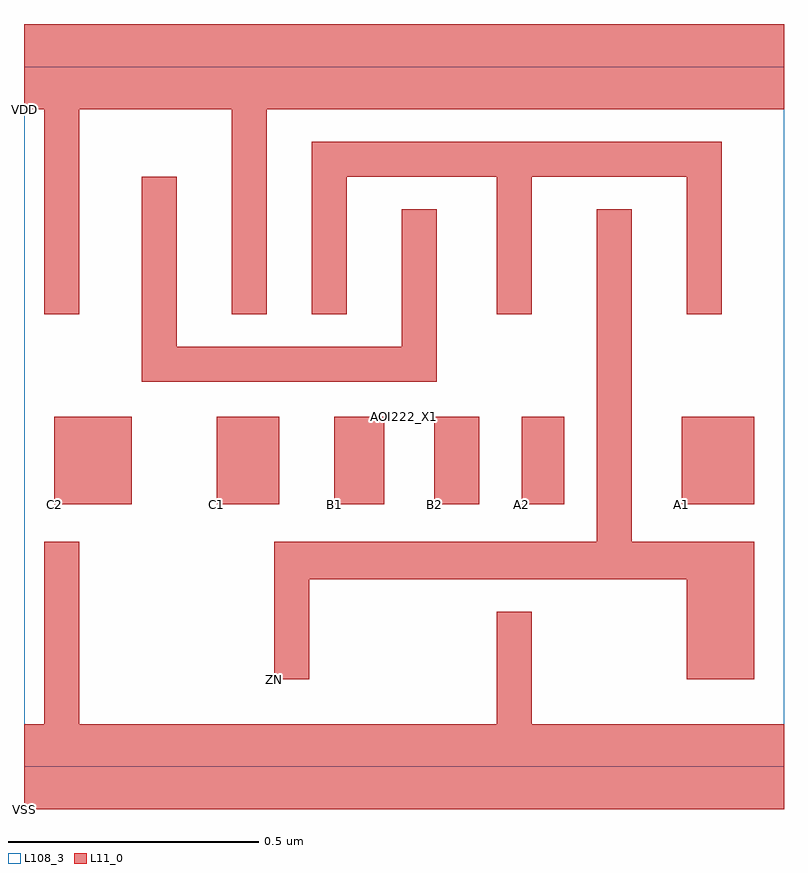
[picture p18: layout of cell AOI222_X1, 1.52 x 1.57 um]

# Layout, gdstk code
import gdstk
lib = gdstk.Library(unit=1e-6, precision=1e-09)
def R(c, l, rs):  # rectangles x0, y0, x1, y1
    for r in rs: c.add(gdstk.rectangle(r[:2], r[2:], *l))
def P(c, l, *ps):  # polygons
    for p in ps: c.add(gdstk.Polygon(p, *l))
L11_0 = (11, 0)
L108_3 = (108, 3)

aoi222_x1 = lib.new_cell('AOI222_X1')
R(aoi222_x1, L11_0, [(0.06,0.525,0.215,0.7), (0.385,0.525,0.51,0.7), (0.62,0.525,0.72,0.7), (0.82,0.525,0.91,0.7), (0.995,0.525,1.08,0.7), (1.315,0.525,1.46,0.7)])
P(aoi222_x1, L11_0, [(0.5,0.175),(0.57,0.175),(0.57,0.375),(1.325,0.375),(1.325,0.175),(1.46,0.175),(1.46,0.45),(1.215,0.45),(1.215,1.115),(1.145,1.115),(1.145,0.45),(0.5,0.45)],
  [(0,1.315),(0.04,1.315),(0.04,0.905),(0.11,0.905),(0.11,1.315),(0.415,1.315),(0.415,0.905),(0.485,0.905),(0.485,1.315),(1.395,1.315),(1.52,1.315),(1.52,1.485),(1.395,1.485),(0,1.485)],
  [(0,-0.085),(1.52,-0.085),(1.52,0.085),(1.015,0.085),(1.015,0.31),(0.945,0.31),(0.945,0.085),(0.11,0.085),(0.11,0.45),(0.04,0.45),(0.04,0.085),(0,0.085)],
  [(0.235,0.77),(0.825,0.77),(0.825,1.115),(0.755,1.115),(0.755,0.84),(0.305,0.84),(0.305,1.18),(0.235,1.18)],
  [(0.575,0.905),(0.645,0.905),(0.645,1.18),(0.945,1.18),(0.945,0.905),(1.015,0.905),(1.015,1.18),(1.325,1.18),(1.325,0.905),(1.395,0.905),(1.395,1.25),(0.575,1.25)])
R(aoi222_x1, L108_3, [(0,0,1.52,1.4)])
aoi222_x1.add(gdstk.Label('AOI222_X1', (0.76,0.7), layer=108, texttype=3))
aoi222_x1.add(gdstk.Label('A1', (1.315,0.525), layer=11, texttype=0))
aoi222_x1.add(gdstk.Label('A2', (0.995,0.525), layer=11, texttype=0))
aoi222_x1.add(gdstk.Label('B1', (0.62,0.525), layer=11, texttype=0))
aoi222_x1.add(gdstk.Label('B2', (0.82,0.525), layer=11, texttype=0))
aoi222_x1.add(gdstk.Label('C1', (0.385,0.525), layer=11, texttype=0))
aoi222_x1.add(gdstk.Label('C2', (0.06,0.525), layer=11, texttype=0))
aoi222_x1.add(gdstk.Label('ZN', (0.5,0.175), layer=11, texttype=0))
aoi222_x1.add(gdstk.Label('VDD', (0,1.315), layer=11, texttype=0))
aoi222_x1.add(gdstk.Label('VSS', (0,-0.085), layer=11, texttype=0))

lib.write_gds('AOI222_X1.gds')
